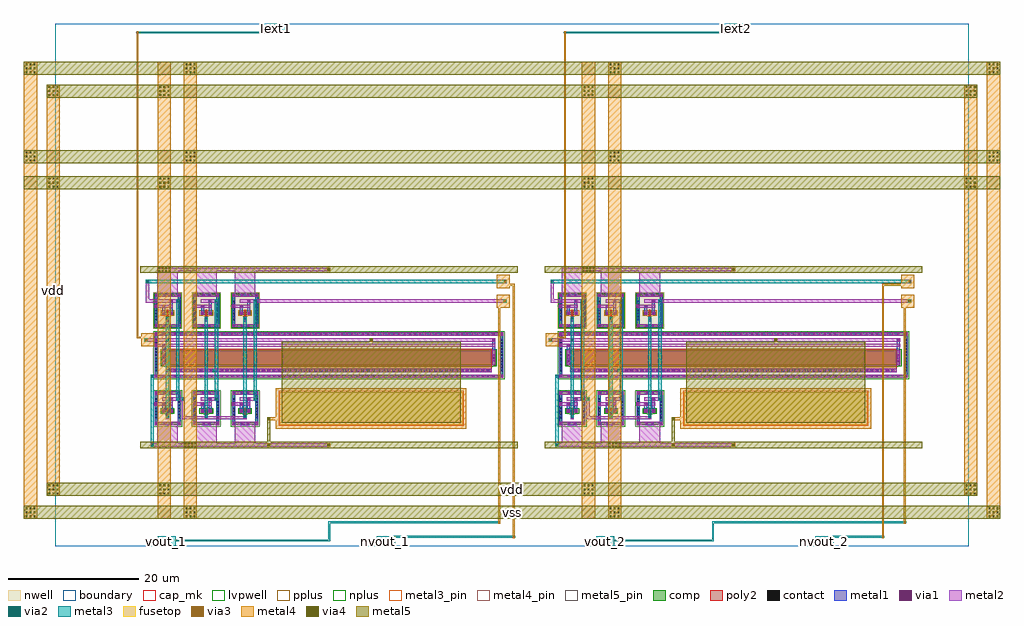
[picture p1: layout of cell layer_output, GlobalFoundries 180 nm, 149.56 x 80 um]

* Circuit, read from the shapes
.subckt layer_output Iext1 Iext2 nvout_1 nvout_2 vdd vout_1 vout_2 vss
XM1 Iext1 n1 vss vss nfet_03v3 w=2.3u l=50u
XM2 nvout_1 Iext1 vss vss nfet_03v3 w=0.5u l=0.28u
XM3 n1 nvout_1 vss vss nfet_03v3 w=0.5u l=0.28u
XM4 vout_1 nvout_1 vss vss nfet_03v3 w=0.5u l=0.28u
XM5 Iext2 n2 vss vss nfet_03v3 w=2.3u l=50u
XM6 nvout_2 Iext2 vss vss nfet_03v3 w=0.5u l=0.28u
XM7 n2 nvout_2 vss vss nfet_03v3 w=0.5u l=0.28u
XM8 vout_2 nvout_2 vss vss nfet_03v3 w=0.5u l=0.28u
XM9 nvout_1 Iext1 vdd vdd pfet_03v3 w=0.5u l=0.28u
XM10 n1 nvout_1 vdd vdd pfet_03v3 w=0.5u l=0.28u
XM11 vout_1 nvout_1 vdd vdd pfet_03v3 w=0.5u l=0.28u
XM12 nvout_2 Iext2 vdd vdd pfet_03v3 w=0.5u l=0.28u
XM13 n2 nvout_2 vdd vdd pfet_03v3 w=0.5u l=0.28u
XM14 vout_2 nvout_2 vdd vdd pfet_03v3 w=0.5u l=0.28u
XC15 n3 vss cap_mim_2f0fF c_width=28u c_length=5u
XC16 n4 vss cap_mim_2f0fF c_width=28u c_length=5u
.ends

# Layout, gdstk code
import gdstk
lib = gdstk.Library(unit=1e-6, precision=1e-09)
def R(c, l, rs):  # rectangles x0, y0, x1, y1
    for r in rs: c.add(gdstk.rectangle(r[:2], r[2:], *l))
def A(c, l, x, y, w, h, nx, ny, dx, dy):  # array of equal rectangles
    R(c, l, [(x+i*dx, y+j*dy, x+i*dx+w, y+j*dy+h) for i in range(nx) for j in range(ny)])
boundary = (0, 0)
nwell = (21, 0)
comp = (22, 0)
poly2 = (30, 0)
pplus = (31, 0)
nplus = (32, 0)
contact = (33, 0)
metal1 = (34, 0)
via1 = (35, 0)
metal2 = (36, 0)
via2 = (38, 0)
via3 = (40, 0)
via4 = (41, 0)
metal3 = (42, 0)
metal3_pin = (42, 10)
metal4 = (46, 0)
metal4_pin = (46, 10)
fusetop = (75, 0)
metal5 = (81, 0)
metal5_pin = (81, 10)
cap_mk = (117, 5)
lvpwell = (204, 0)

via_via4_5_1000_1000_1_1 = lib.new_cell('VIA_via4_5_1000_1000_1_1_1040_1040$3')
R(via_via4_5_1000_1000_1_1, via4, [(-0.13,-0.13,0.13,0.13)])
R(via_via4_5_1000_1000_1_1, metal4, [(-0.25,-0.25,0.25,0.25)])
R(via_via4_5_1000_1000_1_1, metal5, [(-0.25,-0.25,0.25,0.25)])

via_via4_5_4000_2000_2_4 = lib.new_cell('VIA_via4_5_4000_2000_2_4_1040_1040$2')
A(via_via4_5_4000_2000_2_4, via4, -0.91, -0.39, 0.26, 0.26, 4, 2, 0.52, 0.52)
R(via_via4_5_4000_2000_2_4, metal4, [(-1,-0.45,1,0.45)])
R(via_via4_5_4000_2000_2_4, metal5, [(-1,-0.5,1,0.5)])

via_via4_5_4000_4000_3_3 = lib.new_cell('VIA_via4_5_4000_4000_3_3_1240_1240$2')
A(via_via4_5_4000_4000_3_3, via4, -0.75, -0.75, 0.26, 0.26, 3, 3, 0.62, 0.62)
R(via_via4_5_4000_4000_3_3, metal4, [(-1,-0.81,1,0.81)])
R(via_via4_5_4000_4000_3_3, metal5, [(-0.81,-1,0.81,1)])

straight_route_53a4cb04_ = lib.new_cell('straight_route_53a4cb04$1')
R(straight_route_53a4cb04_, metal2, [(1.97,1.105,2.47,1.855)])

via_stack_db8f27e1_1_1 = lib.new_cell('via_stack_db8f27e1$1$1')
R(via_stack_db8f27e1_1_1, metal2, [(-0.25,-0.25,0.25,0.25)])
R(via_stack_db8f27e1_1_1, via2, [(-0.13,-0.13,0.13,0.13)])
R(via_stack_db8f27e1_1_1, metal3, [(-0.25,-0.25,0.25,0.25)])

straight_route_6d2a1bc3_ = lib.new_cell('straight_route_6d2a1bc3$1')
R(straight_route_6d2a1bc3_, metal1, [(0.19,3.195,0.69,3.695)])
R(straight_route_6d2a1bc3_, via1, [(0.31,3.315,0.57,3.575)])
R(straight_route_6d2a1bc3_, metal2, [(0.19,3.195,1.4,3.695)])

m2_1 = lib.new_cell('m2$1')
R(m2_1, comp, [(-1.94,-2.52,1.94,-2.16), (-1.94,-2.16,-1.58,2.16), (1.58,-2.16,1.94,2.16), (-0.89,-0.655,0.89,-0.155), (-1.94,2.16,1.94,2.52)])
R(m2_1, poly2, [(-0.25,-1.695,0.25,-1.195), (-0.14,-1.195,0.14,0.085)])
R(m2_1, pplus, [(-0.61,-2.55,0.61,-2.54), (-1.96,-2.54,1.96,-2.14), (-1.96,-2.14,-1.56,-1.62), (-0.61,-2.14,0.61,-2.13), (1.56,-2.14,1.96,-1.62), (-1.97,-1.62,-1.55,1.62), (1.55,-1.62,1.97,1.62), (-1.96,1.62,-1.56,2.14), (1.56,1.62,1.96,2.14), (-0.61,2.13,0.61,2.14), (-1.96,2.14,1.96,2.54), (-0.61,2.54,0.61,2.55)])
R(m2_1, nplus, [(-0.37,-0.885,0.37,-0.815), (-1.05,-0.815,1.05,0.005), (-0.37,0.005,0.37,0.075)])
A(m2_1, contact, -1.87, -1.52, 0.22, 0.22, 1, 7, 0, 0.47)
A(m2_1, contact, 1.65, -1.52, 0.22, 0.22, 1, 7, 0, 0.47)
R(m2_1, contact, [(-0.51,-2.45,-0.29,-2.23), (0.29,-2.45,0.51,-2.23), (-0.11,-1.555,0.11,-1.335), (-0.68,-0.515,-0.46,-0.295), (0.46,-0.515,0.68,-0.295), (-0.51,2.23,-0.29,2.45), (0.29,2.23,0.51,2.45)])
R(m2_1, metal1, [(-1.99,-2.59,-1.49,-2.09), (-0.65,-2.59,0.65,-2.09), (1.49,-2.59,1.99,-2.09), (-1.99,-2.09,-1.53,2.09), (1.53,-2.09,1.99,2.09), (-0.25,-1.695,0.25,-1.195), (-0.82,-0.655,-0.32,-0.155), (0.32,-0.655,0.82,-0.155), (-0.8,-0.155,-0.34,0.395), (0.34,-0.155,0.8,1.195), (-0.82,0.395,-0.32,0.895), (0.32,1.195,0.82,1.695), (-1.99,2.09,-1.49,2.59), (-0.65,2.09,0.65,2.59), (1.49,2.09,1.99,2.59)])
R(m2_1, via1, [(-1.87,-2.47,-1.61,-2.21), (-0.53,-2.47,-0.27,-2.21), (0.27,-2.47,0.53,-2.21), (1.61,-2.47,1.87,-2.21), (-0.13,-1.575,0.13,-1.315), (-0.7,-0.535,-0.44,-0.275), (0.44,-0.535,0.7,-0.275), (-0.7,0.515,-0.44,0.775), (0.44,1.315,0.7,1.575), (-1.87,2.21,-1.61,2.47), (-0.53,2.21,-0.27,2.47), (0.27,2.21,0.53,2.47), (1.61,2.21,1.87,2.47)])
R(m2_1, metal2, [(-1.99,-2.59,1.99,-2.09), (-0.25,-1.695,0.25,-1.195), (-0.82,-0.655,-0.32,-0.155), (0.32,-0.655,0.82,-0.155), (-0.82,0.395,0.82,0.895), (-0.82,1.195,0.82,1.695), (-1.99,2.09,1.99,2.59)])
R(m2_1, lvpwell, [(-2.22,-2.8,2.22,2.8)])

straight_route_dcf617a3_ = lib.new_cell('straight_route_dcf617a3$1')
R(straight_route_dcf617a3_, metal2, [(8.41,1.105,13.85,1.605)])

l_route_f6a98f74_1 = lib.new_cell('L_route_f6a98f74$1')
R(l_route_f6a98f74_1, metal2, [(4.39,1.105,7.91,1.605), (4.39,1.605,4.89,3.995)])

straight_route_ddcd9658_ = lib.new_cell('straight_route_ddcd9658$1')
R(straight_route_ddcd9658_, metal2, [(7.91,1.105,8.41,1.855)])

via_stack_db8f27e1_3_1 = lib.new_cell('via_stack_db8f27e1$3$1')
R(via_stack_db8f27e1_3_1, metal2, [(-0.25,-0.25,0.25,0.25)])
R(via_stack_db8f27e1_3_1, via2, [(-0.13,-0.13,0.13,0.13)])
R(via_stack_db8f27e1_3_1, metal3, [(-0.25,-0.25,0.25,0.25)])

straight_route_56a2289f_ = lib.new_cell('straight_route_56a2289f$1')
R(straight_route_56a2289f_, metal1, [(6.13,3.195,6.63,3.695)])
R(straight_route_56a2289f_, via1, [(6.25,3.315,6.51,3.575)])
R(straight_route_56a2289f_, metal2, [(6.13,3.195,7.34,3.695)])

m4_1 = lib.new_cell('m4$1')
R(m4_1, comp, [(-1.94,-2.52,1.94,-2.16), (-1.94,-2.16,-1.58,2.16), (1.58,-2.16,1.94,2.16), (-0.89,-0.655,0.89,-0.155), (-1.94,2.16,1.94,2.52)])
R(m4_1, poly2, [(-0.25,-1.695,0.25,-1.195), (-0.14,-1.195,0.14,0.085)])
R(m4_1, pplus, [(-0.61,-2.55,0.61,-2.54), (-1.96,-2.54,1.96,-2.14), (-1.96,-2.14,-1.56,-1.62), (-0.61,-2.14,0.61,-2.13), (1.56,-2.14,1.96,-1.62), (-1.97,-1.62,-1.55,1.62), (1.55,-1.62,1.97,1.62), (-1.96,1.62,-1.56,2.14), (1.56,1.62,1.96,2.14), (-0.61,2.13,0.61,2.14), (-1.96,2.14,1.96,2.54), (-0.61,2.54,0.61,2.55)])
R(m4_1, nplus, [(-0.37,-0.885,0.37,-0.815), (-1.05,-0.815,1.05,0.005), (-0.37,0.005,0.37,0.075)])
A(m4_1, contact, -1.87, -1.52, 0.22, 0.22, 1, 7, 0, 0.47)
A(m4_1, contact, 1.65, -1.52, 0.22, 0.22, 1, 7, 0, 0.47)
R(m4_1, contact, [(-0.51,-2.45,-0.29,-2.23), (0.29,-2.45,0.51,-2.23), (-0.11,-1.555,0.11,-1.335), (-0.68,-0.515,-0.46,-0.295), (0.46,-0.515,0.68,-0.295), (-0.51,2.23,-0.29,2.45), (0.29,2.23,0.51,2.45)])
R(m4_1, metal1, [(-1.99,-2.59,-1.49,-2.09), (-0.65,-2.59,0.65,-2.09), (1.49,-2.59,1.99,-2.09), (-1.99,-2.09,-1.53,2.09), (1.53,-2.09,1.99,2.09), (-0.25,-1.695,0.25,-1.195), (-0.82,-0.655,-0.32,-0.155), (0.32,-0.655,0.82,-0.155), (-0.8,-0.155,-0.34,0.395), (0.34,-0.155,0.8,1.195), (-0.82,0.395,-0.32,0.895), (0.32,1.195,0.82,1.695), (-1.99,2.09,-1.49,2.59), (-0.65,2.09,0.65,2.59), (1.49,2.09,1.99,2.59)])
R(m4_1, via1, [(-1.87,-2.47,-1.61,-2.21), (-0.53,-2.47,-0.27,-2.21), (0.27,-2.47,0.53,-2.21), (1.61,-2.47,1.87,-2.21), (-0.13,-1.575,0.13,-1.315), (-0.7,-0.535,-0.44,-0.275), (0.44,-0.535,0.7,-0.275), (-0.7,0.515,-0.44,0.775), (0.44,1.315,0.7,1.575), (-1.87,2.21,-1.61,2.47), (-0.53,2.21,-0.27,2.47), (0.27,2.21,0.53,2.47), (1.61,2.21,1.87,2.47)])
R(m4_1, metal2, [(-1.99,-2.59,1.99,-2.09), (-0.25,-1.695,0.25,-1.195), (-0.82,-0.655,-0.32,-0.155), (0.32,-0.655,0.82,-0.155), (-0.82,0.395,0.82,0.895), (-0.82,1.195,0.82,1.695), (-1.99,2.09,1.99,2.59)])
R(m4_1, lvpwell, [(-2.22,-2.8,2.22,2.8)])

straight_route_e1a548f4_ = lib.new_cell('straight_route_e1a548f4$1')
R(straight_route_e1a548f4_, metal1, [(12.07,3.195,12.57,3.695)])
R(straight_route_e1a548f4_, via1, [(12.19,3.315,12.45,3.575)])
R(straight_route_e1a548f4_, metal2, [(12.07,3.195,13.28,3.695)])

m8_1 = lib.new_cell('m8$1')
R(m8_1, comp, [(-1.94,-2.52,1.94,-2.16), (-1.94,-2.16,-1.58,2.16), (1.58,-2.16,1.94,2.16), (-0.89,-0.655,0.89,-0.155), (-1.94,2.16,1.94,2.52)])
R(m8_1, poly2, [(-0.25,-1.695,0.25,-1.195), (-0.14,-1.195,0.14,0.085)])
R(m8_1, pplus, [(-0.61,-2.55,0.61,-2.54), (-1.96,-2.54,1.96,-2.14), (-1.96,-2.14,-1.56,-1.62), (-0.61,-2.14,0.61,-2.13), (1.56,-2.14,1.96,-1.62), (-1.97,-1.62,-1.55,1.62), (1.55,-1.62,1.97,1.62), (-1.96,1.62,-1.56,2.14), (1.56,1.62,1.96,2.14), (-0.61,2.13,0.61,2.14), (-1.96,2.14,1.96,2.54), (-0.61,2.54,0.61,2.55)])
R(m8_1, nplus, [(-0.37,-0.885,0.37,-0.815), (-1.05,-0.815,1.05,0.005), (-0.37,0.005,0.37,0.075)])
A(m8_1, contact, -1.87, -1.52, 0.22, 0.22, 1, 7, 0, 0.47)
A(m8_1, contact, 1.65, -1.52, 0.22, 0.22, 1, 7, 0, 0.47)
R(m8_1, contact, [(-0.51,-2.45,-0.29,-2.23), (0.29,-2.45,0.51,-2.23), (-0.11,-1.555,0.11,-1.335), (-0.68,-0.515,-0.46,-0.295), (0.46,-0.515,0.68,-0.295), (-0.51,2.23,-0.29,2.45), (0.29,2.23,0.51,2.45)])
R(m8_1, metal1, [(-1.99,-2.59,-1.49,-2.09), (-0.65,-2.59,0.65,-2.09), (1.49,-2.59,1.99,-2.09), (-1.99,-2.09,-1.53,2.09), (1.53,-2.09,1.99,2.09), (-0.25,-1.695,0.25,-1.195), (-0.82,-0.655,-0.32,-0.155), (0.32,-0.655,0.82,-0.155), (-0.8,-0.155,-0.34,0.395), (0.34,-0.155,0.8,1.195), (-0.82,0.395,-0.32,0.895), (0.32,1.195,0.82,1.695), (-1.99,2.09,-1.49,2.59), (-0.65,2.09,0.65,2.59), (1.49,2.09,1.99,2.59)])
R(m8_1, via1, [(-1.87,-2.47,-1.61,-2.21), (-0.53,-2.47,-0.27,-2.21), (0.27,-2.47,0.53,-2.21), (1.61,-2.47,1.87,-2.21), (-0.13,-1.575,0.13,-1.315), (-0.7,-0.535,-0.44,-0.275), (0.44,-0.535,0.7,-0.275), (-0.7,0.515,-0.44,0.775), (0.44,1.315,0.7,1.575), (-1.87,2.21,-1.61,2.47), (-0.53,2.21,-0.27,2.47), (0.27,2.21,0.53,2.47), (1.61,2.21,1.87,2.47)])
R(m8_1, metal2, [(-1.99,-2.59,1.99,-2.09), (-0.25,-1.695,0.25,-1.195), (-0.82,-0.655,-0.32,-0.155), (0.32,-0.655,0.82,-0.155), (-0.82,0.395,0.82,0.895), (-0.82,1.195,0.82,1.695), (-1.99,2.09,1.99,2.59)])
R(m8_1, lvpwell, [(-2.22,-2.8,2.22,2.8)])

c_route_1413264f_1 = lib.new_cell('c_route_1413264f$1')
R(c_route_1413264f_1, metal2, [(17.47,-3.05,26.68,-2.55)])
R(c_route_1413264f_1, via2, [(17.59,-2.93,17.85,-2.67)])
R(c_route_1413264f_1, via3, [(17.59,-2.93,17.85,-2.67)])
R(c_route_1413264f_1, via4, [(17.59,-2.93,17.85,-2.67), (17.59,1.07,17.85,1.33)])
R(c_route_1413264f_1, metal3, [(17.47,-3.05,17.97,-2.55)])
R(c_route_1413264f_1, metal4, [(17.47,-3.05,17.97,-2.55), (17.47,0.95,19.97,1.45)])
R(c_route_1413264f_1, metal5, [(17.47,-3.05,17.97,1.45)])

straight_route_481d2178_ = lib.new_cell('straight_route_481d2178$1')
R(straight_route_481d2178_, metal2, [(13.85,1.105,14.35,1.855)])

via_stack_db8f27e1_5_1 = lib.new_cell('via_stack_db8f27e1$5$1')
R(via_stack_db8f27e1_5_1, metal2, [(-0.25,-0.25,0.25,0.25)])
R(via_stack_db8f27e1_5_1, via2, [(-0.13,-0.13,0.13,0.13)])
R(via_stack_db8f27e1_5_1, metal3, [(-0.25,-0.25,0.25,0.25)])

l_route_33c645ae_1 = lib.new_cell('L_route_33c645ae$1')
R(l_route_33c645ae_1, metal2, [(12.52,-3.05,26.68,-2.55), (12.52,-2.55,15.68,0.21)])

via_stack_b843013f_2 = lib.new_cell('via_stack_b843013f$2')
R(via_stack_b843013f_2, metal2, [(-0.25,-0.25,0.25,0.25)])
R(via_stack_b843013f_2, via2, [(-0.13,-0.13,0.13,0.13)])
R(via_stack_b843013f_2, via3, [(-0.13,-0.13,0.13,0.13)])
R(via_stack_b843013f_2, via4, [(-0.13,-0.13,0.13,0.13)])
R(via_stack_b843013f_2, metal3, [(-0.25,-0.25,0.25,0.25)])
R(via_stack_b843013f_2, metal4, [(-0.25,-0.25,0.25,0.25)])
R(via_stack_b843013f_2, metal5, [(-0.25,-0.25,0.25,0.25)])

l_route_2285d065_1 = lib.new_cell('L_route_2285d065$1')
R(l_route_2285d065_1, metal2, [(6.58,-3.05,26.68,-2.55), (6.58,-2.55,9.74,0.21)])

l_route_16eb19f2_1 = lib.new_cell('L_route_16eb19f2$1')
R(l_route_16eb19f2_1, metal2, [(0.64,-3.05,26.68,-2.55), (0.64,-2.55,3.8,0.21)])

compass_9b95c421_1_1 = lib.new_cell('compass_9b95c421$1$1')
R(compass_9b95c421_1_1, metal5, [(-28.93,-0.5,28.93,0.5)])

rectangle_9b95c421_1_1 = lib.new_cell('rectangle_9b95c421$1$1')
rectangle_9b95c421_1_1.add(gdstk.Reference(compass_9b95c421_1_1, (28.93,0.5)))

cap_1 = lib.new_cell('cap$1')
R(cap_1, metal4, [(-14.6,-3.1,14.6,3.1)])
R(cap_1, fusetop, [(-14,-2.5,14,2.5)])
R(cap_1, metal5, [(-13.72,-2.22,13.72,2.22)])
R(cap_1, cap_mk, [(-14.2,-2.7,14.2,2.7)])

straight_route_b24133ba_ = lib.new_cell('straight_route_b24133ba$1')
R(straight_route_b24133ba_, metal2, [(3.04,3.995,4.39,4.495)])

via_stack_d8f45b10_1 = lib.new_cell('via_stack_d8f45b10$1')
R(via_stack_d8f45b10_1, metal2, [(-0.25,-0.25,0.25,0.25)])
R(via_stack_d8f45b10_1, via2, [(-0.13,-0.13,0.13,0.13)])
R(via_stack_d8f45b10_1, metal3, [(-0.25,-0.25,0.25,0.25)])

straight_route_92746b26_ = lib.new_cell('straight_route_92746b26$1')
R(straight_route_92746b26_, metal2, [(33.17,13.035,33.67,13.535)])
R(straight_route_92746b26_, via2, [(33.29,13.155,33.55,13.415)])
R(straight_route_92746b26_, via3, [(33.29,13.155,33.55,13.415)])
R(straight_route_92746b26_, via4, [(33.29,13.155,33.55,13.415)])
R(straight_route_92746b26_, metal3, [(33.17,13.035,33.67,13.535)])
R(straight_route_92746b26_, metal4, [(33.17,13.035,33.67,13.535)])
R(straight_route_92746b26_, metal5, [(19.7,5.02,47.14,13.035), (33.17,13.035,33.67,13.535)])

c_route_c9285d5b_1 = lib.new_cell('c_route_c9285d5b$1')
R(c_route_c9285d5b_1, metal2, [(-0.36,-3.05,26.68,-2.55), (-0.36,7.455,0.64,7.955)])
R(c_route_c9285d5b_1, via2, [(-0.24,-2.93,0.02,-2.67), (-0.24,7.575,0.02,7.835)])
R(c_route_c9285d5b_1, metal3, [(-0.36,-3.05,0.14,7.955)])

m5_1 = lib.new_cell('m5$1')
R(m5_1, comp, [(-26.65,-3.415,26.65,-3.055), (-26.65,-3.055,-26.29,3.055), (26.29,-3.055,26.65,3.055), (-25.6,-1.555,25.6,0.745), (-26.65,3.055,26.65,3.415)])
R(m5_1, poly2, [(-25,-2.595,25,0.985)])
R(m5_1, pplus, [(-25.41,-3.445,25.41,-3.435), (-26.67,-3.435,26.67,-3.035), (-26.67,-3.035,-26.27,-2.56), (-25.41,-3.035,25.41,-3.025), (26.27,-3.035,26.67,-2.56), (-26.68,-2.56,-26.26,2.56), (26.26,-2.56,26.68,2.56), (-26.67,2.56,-26.27,3.035), (26.27,2.56,26.67,3.035), (-25.41,3.025,25.41,3.035), (-26.67,3.035,26.67,3.435), (-25.41,3.435,25.41,3.445)])
R(m5_1, nplus, [(-25.23,-1.785,25.23,-1.715), (-25.76,-1.715,25.76,0.905), (-25.23,0.905,25.23,0.975)])
A(m5_1, contact, -25.31, -3.345, 0.22, 0.22, 64, 2, 0.8, 6.47)
A(m5_1, contact, -26.58, -2.46, 0.22, 0.22, 1, 11, 0, 0.47)
A(m5_1, contact, 26.36, -2.46, 0.22, 0.22, 1, 11, 0, 0.47)
A(m5_1, contact, -24.51, -2.455, 0.22, 0.22, 62, 1, 0.8, 0)
A(m5_1, contact, -25.39, -0.985, 0.22, 0.22, 1, 3, 0, 0.47)
A(m5_1, contact, 25.17, -0.985, 0.22, 0.22, 1, 3, 0, 0.47)
A(m5_1, metal1, -24.65, -2.595, 0.5, 0.5, 62, 1, 0.8, 0)
R(m5_1, metal1, [(-26.7,-3.485,-26.2,-2.985), (-25.45,-3.485,25.45,-2.985), (26.2,-3.485,26.7,-2.985), (-26.7,-2.985,-26.24,2.985), (26.24,-2.985,26.7,2.985), (-25.51,-1.555,-25.05,-1.055), (25.05,-1.555,25.51,-1.055), (-25.53,-1.055,-25.03,0.245), (25.03,-1.055,25.53,0.245), (-25.51,0.245,-25.05,1.295), (25.05,0.245,25.51,2.095), (-25.53,1.295,-25.03,1.795), (25.03,2.095,25.53,2.595), (-26.7,2.985,-26.2,3.485), (-25.45,2.985,25.45,3.485), (26.2,2.985,26.7,3.485)])
A(m5_1, via1, -25.33, -3.365, 0.26, 0.26, 64, 2, 0.8, 6.47)
A(m5_1, via1, -24.53, -2.475, 0.26, 0.26, 62, 1, 0.8, 0)
R(m5_1, via1, [(-26.58,-3.365,-26.32,-3.105), (26.32,-3.365,26.58,-3.105), (-25.41,-0.935,-25.15,-0.675), (25.15,-0.935,25.41,-0.675), (-25.41,-0.135,-25.15,0.125), (25.15,-0.135,25.41,0.125), (-25.41,1.415,-25.15,1.675), (25.15,2.215,25.41,2.475), (-26.58,3.105,-26.32,3.365), (26.32,3.105,26.58,3.365)])
R(m5_1, metal2, [(-26.7,-3.485,26.7,-2.985), (-25,-2.595,25,-2.095), (-25.53,-1.555,-25.03,0.745), (25.03,-1.555,25.53,0.745), (-25.53,1.295,25.53,1.795), (-25.53,2.095,25.53,2.595), (-26.7,2.985,26.7,3.485)])
R(m5_1, lvpwell, [(-26.93,-3.695,26.93,3.695)])

compass_669c8fc8_3 = lib.new_cell('compass_669c8fc8$3')
R(compass_669c8fc8_3, metal4, [(-1,-1,1,1)])

iin_metal_1 = lib.new_cell('iin_metal$1')
iin_metal_1.add(gdstk.Reference(compass_669c8fc8_3, (1,1)))

straight_route_996c362e_ = lib.new_cell('straight_route_996c362e$1')
R(straight_route_996c362e_, metal2, [(-0.85,13.035,1.4,13.535)])

via_stack_c8581f42_2 = lib.new_cell('via_stack_c8581f42$2')
R(via_stack_c8581f42_2, metal2, [(-0.25,-0.25,0.25,0.25)])
R(via_stack_c8581f42_2, via2, [(-0.13,-0.13,0.13,0.13)])
R(via_stack_c8581f42_2, via3, [(-0.13,-0.13,0.13,0.13)])
R(via_stack_c8581f42_2, metal3, [(-0.25,-0.25,0.25,0.25)])
R(via_stack_c8581f42_2, metal4, [(-0.25,-0.25,0.25,0.25)])

straight_route_9664698a_ = lib.new_cell('straight_route_9664698a$1')
R(straight_route_9664698a_, metal2, [(1.97,16.095,2.47,16.595)])

straight_route_ed3a1993_ = lib.new_cell('straight_route_ed3a1993$1')
R(straight_route_ed3a1993_, metal1, [(0.19,12.235,0.69,12.735)])
R(straight_route_ed3a1993_, via1, [(0.31,12.355,0.57,12.615)])
R(straight_route_ed3a1993_, metal2, [(0.19,12.235,1.4,12.735)])

m1_1 = lib.new_cell('m1$1')
R(m1_1, nwell, [(-2.22,-2.8,2.22,2.8)])
R(m1_1, comp, [(-1.94,-2.52,1.94,-2.16), (-1.94,-2.16,-1.58,2.16), (1.58,-2.16,1.94,2.16), (-0.89,-0.655,0.89,-0.155), (-1.94,2.16,1.94,2.52)])
R(m1_1, poly2, [(-0.25,-1.695,0.25,-1.195), (-0.14,-1.195,0.14,0.085)])
R(m1_1, pplus, [(-0.37,-0.885,0.37,-0.815), (-1.05,-0.815,1.05,0.005), (-0.37,0.005,0.37,0.075)])
R(m1_1, nplus, [(-2.1,-2.68,2.1,-2.14), (-2.1,-2.14,-1.56,-1.62), (-0.61,-2.14,0.61,-2.13), (1.56,-2.14,2.1,-1.62), (-2.1,-1.62,-1.55,1.62), (1.55,-1.62,2.1,1.62), (-2.1,1.62,-1.56,2.14), (1.56,1.62,2.1,2.14), (-0.61,2.13,0.61,2.14), (-2.1,2.14,2.1,2.68)])
A(m1_1, contact, -1.87, -1.52, 0.22, 0.22, 1, 7, 0, 0.47)
A(m1_1, contact, 1.65, -1.52, 0.22, 0.22, 1, 7, 0, 0.47)
R(m1_1, contact, [(-0.51,-2.45,-0.29,-2.23), (0.29,-2.45,0.51,-2.23), (-0.11,-1.555,0.11,-1.335), (-0.68,-0.515,-0.46,-0.295), (0.46,-0.515,0.68,-0.295), (-0.51,2.23,-0.29,2.45), (0.29,2.23,0.51,2.45)])
R(m1_1, metal1, [(-1.99,-2.59,-1.49,-2.09), (-0.65,-2.59,0.65,-2.09), (1.49,-2.59,1.99,-2.09), (-1.99,-2.09,-1.53,2.09), (1.53,-2.09,1.99,2.09), (-0.25,-1.695,0.25,-1.195), (-0.82,-0.655,-0.32,-0.155), (0.32,-0.655,0.82,-0.155), (-0.8,-0.155,-0.34,0.395), (0.34,-0.155,0.8,1.195), (-0.82,0.395,-0.32,0.895), (0.32,1.195,0.82,1.695), (-1.99,2.09,-1.49,2.59), (-0.65,2.09,0.65,2.59), (1.49,2.09,1.99,2.59)])
R(m1_1, via1, [(-1.87,-2.47,-1.61,-2.21), (-0.53,-2.47,-0.27,-2.21), (0.27,-2.47,0.53,-2.21), (1.61,-2.47,1.87,-2.21), (-0.13,-1.575,0.13,-1.315), (-0.7,-0.535,-0.44,-0.275), (0.44,-0.535,0.7,-0.275), (-0.7,0.515,-0.44,0.775), (0.44,1.315,0.7,1.575), (-1.87,2.21,-1.61,2.47), (-0.53,2.21,-0.27,2.47), (0.27,2.21,0.53,2.47), (1.61,2.21,1.87,2.47)])
R(m1_1, metal2, [(-1.99,-2.59,1.99,-2.09), (-0.25,-1.695,0.25,-1.195), (-0.82,-0.655,-0.32,-0.155), (0.32,-0.655,0.82,-0.155), (-0.82,0.395,0.82,0.895), (-0.82,1.195,0.82,1.695), (-1.99,2.09,1.99,2.59)])

m3_1 = lib.new_cell('m3$1')
R(m3_1, nwell, [(-2.22,-2.8,2.22,2.8)])
R(m3_1, comp, [(-1.94,-2.52,1.94,-2.16), (-1.94,-2.16,-1.58,2.16), (1.58,-2.16,1.94,2.16), (-0.89,-0.655,0.89,-0.155), (-1.94,2.16,1.94,2.52)])
R(m3_1, poly2, [(-0.25,-1.695,0.25,-1.195), (-0.14,-1.195,0.14,0.085)])
R(m3_1, pplus, [(-0.37,-0.885,0.37,-0.815), (-1.05,-0.815,1.05,0.005), (-0.37,0.005,0.37,0.075)])
R(m3_1, nplus, [(-2.1,-2.68,2.1,-2.14), (-2.1,-2.14,-1.56,-1.62), (-0.61,-2.14,0.61,-2.13), (1.56,-2.14,2.1,-1.62), (-2.1,-1.62,-1.55,1.62), (1.55,-1.62,2.1,1.62), (-2.1,1.62,-1.56,2.14), (1.56,1.62,2.1,2.14), (-0.61,2.13,0.61,2.14), (-2.1,2.14,2.1,2.68)])
A(m3_1, contact, -1.87, -1.52, 0.22, 0.22, 1, 7, 0, 0.47)
A(m3_1, contact, 1.65, -1.52, 0.22, 0.22, 1, 7, 0, 0.47)
R(m3_1, contact, [(-0.51,-2.45,-0.29,-2.23), (0.29,-2.45,0.51,-2.23), (-0.11,-1.555,0.11,-1.335), (-0.68,-0.515,-0.46,-0.295), (0.46,-0.515,0.68,-0.295), (-0.51,2.23,-0.29,2.45), (0.29,2.23,0.51,2.45)])
R(m3_1, metal1, [(-1.99,-2.59,-1.49,-2.09), (-0.65,-2.59,0.65,-2.09), (1.49,-2.59,1.99,-2.09), (-1.99,-2.09,-1.53,2.09), (1.53,-2.09,1.99,2.09), (-0.25,-1.695,0.25,-1.195), (-0.82,-0.655,-0.32,-0.155), (0.32,-0.655,0.82,-0.155), (-0.8,-0.155,-0.34,0.395), (0.34,-0.155,0.8,1.195), (-0.82,0.395,-0.32,0.895), (0.32,1.195,0.82,1.695), (-1.99,2.09,-1.49,2.59), (-0.65,2.09,0.65,2.59), (1.49,2.09,1.99,2.59)])
R(m3_1, via1, [(-1.87,-2.47,-1.61,-2.21), (-0.53,-2.47,-0.27,-2.21), (0.27,-2.47,0.53,-2.21), (1.61,-2.47,1.87,-2.21), (-0.13,-1.575,0.13,-1.315), (-0.7,-0.535,-0.44,-0.275), (0.44,-0.535,0.7,-0.275), (-0.7,0.515,-0.44,0.775), (0.44,1.315,0.7,1.575), (-1.87,2.21,-1.61,2.47), (-0.53,2.21,-0.27,2.47), (0.27,2.21,0.53,2.47), (1.61,2.21,1.87,2.47)])
R(m3_1, metal2, [(-1.99,-2.59,1.99,-2.09), (-0.25,-1.695,0.25,-1.195), (-0.82,-0.655,-0.32,-0.155), (0.32,-0.655,0.82,-0.155), (-0.82,0.395,0.82,0.895), (-0.82,1.195,0.82,1.695), (-1.99,2.09,1.99,2.59)])

straight_route_a858edcb_ = lib.new_cell('straight_route_a858edcb$1')
R(straight_route_a858edcb_, metal2, [(7.91,16.095,8.41,16.595)])

m7_1 = lib.new_cell('m7$1')
R(m7_1, nwell, [(-2.22,-2.8,2.22,2.8)])
R(m7_1, comp, [(-1.94,-2.52,1.94,-2.16), (-1.94,-2.16,-1.58,2.16), (1.58,-2.16,1.94,2.16), (-0.89,-0.655,0.89,-0.155), (-1.94,2.16,1.94,2.52)])
R(m7_1, poly2, [(-0.25,-1.695,0.25,-1.195), (-0.14,-1.195,0.14,0.085)])
R(m7_1, pplus, [(-0.37,-0.885,0.37,-0.815), (-1.05,-0.815,1.05,0.005), (-0.37,0.005,0.37,0.075)])
R(m7_1, nplus, [(-2.1,-2.68,2.1,-2.14), (-2.1,-2.14,-1.56,-1.62), (-0.61,-2.14,0.61,-2.13), (1.56,-2.14,2.1,-1.62), (-2.1,-1.62,-1.55,1.62), (1.55,-1.62,2.1,1.62), (-2.1,1.62,-1.56,2.14), (1.56,1.62,2.1,2.14), (-0.61,2.13,0.61,2.14), (-2.1,2.14,2.1,2.68)])
A(m7_1, contact, -1.87, -1.52, 0.22, 0.22, 1, 7, 0, 0.47)
A(m7_1, contact, 1.65, -1.52, 0.22, 0.22, 1, 7, 0, 0.47)
R(m7_1, contact, [(-0.51,-2.45,-0.29,-2.23), (0.29,-2.45,0.51,-2.23), (-0.11,-1.555,0.11,-1.335), (-0.68,-0.515,-0.46,-0.295), (0.46,-0.515,0.68,-0.295), (-0.51,2.23,-0.29,2.45), (0.29,2.23,0.51,2.45)])
R(m7_1, metal1, [(-1.99,-2.59,-1.49,-2.09), (-0.65,-2.59,0.65,-2.09), (1.49,-2.59,1.99,-2.09), (-1.99,-2.09,-1.53,2.09), (1.53,-2.09,1.99,2.09), (-0.25,-1.695,0.25,-1.195), (-0.82,-0.655,-0.32,-0.155), (0.32,-0.655,0.82,-0.155), (-0.8,-0.155,-0.34,0.395), (0.34,-0.155,0.8,1.195), (-0.82,0.395,-0.32,0.895), (0.32,1.195,0.82,1.695), (-1.99,2.09,-1.49,2.59), (-0.65,2.09,0.65,2.59), (1.49,2.09,1.99,2.59)])
R(m7_1, via1, [(-1.87,-2.47,-1.61,-2.21), (-0.53,-2.47,-0.27,-2.21), (0.27,-2.47,0.53,-2.21), (1.61,-2.47,1.87,-2.21), (-0.13,-1.575,0.13,-1.315), (-0.7,-0.535,-0.44,-0.275), (0.44,-0.535,0.7,-0.275), (-0.7,0.515,-0.44,0.775), (0.44,1.315,0.7,1.575), (-1.87,2.21,-1.61,2.47), (-0.53,2.21,-0.27,2.47), (0.27,2.21,0.53,2.47), (1.61,2.21,1.87,2.47)])
R(m7_1, metal2, [(-1.99,-2.59,1.99,-2.09), (-0.25,-1.695,0.25,-1.195), (-0.82,-0.655,-0.32,-0.155), (0.32,-0.655,0.82,-0.155), (-0.82,0.395,0.82,0.895), (-0.82,1.195,0.82,1.695), (-1.99,2.09,1.99,2.59)])

straight_route_a6495afa_ = lib.new_cell('straight_route_a6495afa$1')
R(straight_route_a6495afa_, metal2, [(13.85,16.095,14.35,16.595)])

compass_c22e7f21_1 = lib.new_cell('compass_c22e7f21$1')
R(compass_c22e7f21_1, boundary, [(-28.93,-13.945,28.93,13.945)])

rectangle_c22e7f21_1 = lib.new_cell('rectangle_c22e7f21$1')
rectangle_c22e7f21_1.add(gdstk.Reference(compass_c22e7f21_1, (28.93,13.945)))

via_stack_db8f27e1_4_1 = lib.new_cell('via_stack_db8f27e1$4$1')
R(via_stack_db8f27e1_4_1, metal2, [(-0.25,-0.25,0.25,0.25)])
R(via_stack_db8f27e1_4_1, via2, [(-0.13,-0.13,0.13,0.13)])
R(via_stack_db8f27e1_4_1, metal3, [(-0.25,-0.25,0.25,0.25)])

via_stack_db8f27e1_2_1 = lib.new_cell('via_stack_db8f27e1$2$1')
R(via_stack_db8f27e1_2_1, metal2, [(-0.25,-0.25,0.25,0.25)])
R(via_stack_db8f27e1_2_1, via2, [(-0.13,-0.13,0.13,0.13)])
R(via_stack_db8f27e1_2_1, metal3, [(-0.25,-0.25,0.25,0.25)])

via_stack_db8f27e1_6 = lib.new_cell('via_stack_db8f27e1$6')
R(via_stack_db8f27e1_6, metal2, [(-0.25,-0.25,0.25,0.25)])
R(via_stack_db8f27e1_6, via2, [(-0.13,-0.13,0.13,0.13)])
R(via_stack_db8f27e1_6, metal3, [(-0.25,-0.25,0.25,0.25)])

straight_route_0f4b8453_ = lib.new_cell('straight_route_0f4b8453$1')
R(straight_route_0f4b8453_, metal1, [(12.07,18.185,12.57,18.685)])
R(straight_route_0f4b8453_, via1, [(12.19,18.305,12.45,18.565)])
R(straight_route_0f4b8453_, metal2, [(12.07,18.185,13.28,18.685)])

straight_route_d367c30d_ = lib.new_cell('straight_route_d367c30d$1')
R(straight_route_d367c30d_, metal1, [(6.13,18.185,6.63,18.685)])
R(straight_route_d367c30d_, via1, [(6.25,18.305,6.51,18.565)])
R(straight_route_d367c30d_, metal2, [(6.13,18.185,7.34,18.685)])

straight_route_6b64639e_ = lib.new_cell('straight_route_6b64639e$1')
R(straight_route_6b64639e_, metal1, [(0.19,18.185,0.69,18.685)])
R(straight_route_6b64639e_, via1, [(0.31,18.305,0.57,18.565)])
R(straight_route_6b64639e_, metal2, [(0.19,18.185,1.4,18.685)])

l_route_ab30fc68_1 = lib.new_cell('L_route_ab30fc68$1')
R(l_route_ab30fc68_1, metal2, [(12.52,20.38,15.68,23.84), (12.52,23.84,26.68,24.34)])

l_route_b5e7b31b_1 = lib.new_cell('L_route_b5e7b31b$1')
R(l_route_b5e7b31b_1, metal2, [(6.58,20.38,9.74,23.84), (6.58,23.84,26.68,24.34)])

l_route_0d6dd8b1_1 = lib.new_cell('L_route_0d6dd8b1$1')
R(l_route_0d6dd8b1_1, metal2, [(0.64,20.38,3.8,23.84), (0.64,23.84,26.68,24.34)])

compass_669c8fc8_2_1 = lib.new_cell('compass_669c8fc8$2$1')
R(compass_669c8fc8_2_1, metal4, [(-1,-1,1,1)])

spike_metal_1 = lib.new_cell('spike_metal$1')
spike_metal_1.add(gdstk.Reference(compass_669c8fc8_2_1, (1,1)))

compass_669c8fc8_1_1 = lib.new_cell('compass_669c8fc8$1$1')
R(compass_669c8fc8_1_1, metal4, [(-1,-1,1,1)])

spike_neg_metal_1 = lib.new_cell('spike_neg_metal$1')
spike_neg_metal_1.add(gdstk.Reference(compass_669c8fc8_1_1, (1,1)))

via_stack_c8581f42_1_1 = lib.new_cell('via_stack_c8581f42$1$1')
R(via_stack_c8581f42_1_1, metal2, [(-0.25,-0.25,0.25,0.25)])
R(via_stack_c8581f42_1_1, via2, [(-0.13,-0.13,0.13,0.13)])
R(via_stack_c8581f42_1_1, via3, [(-0.13,-0.13,0.13,0.13)])
R(via_stack_c8581f42_1_1, metal3, [(-0.25,-0.25,0.25,0.25)])
R(via_stack_c8581f42_1_1, metal4, [(-0.25,-0.25,0.25,0.25)])

c_route_29733b11_1 = lib.new_cell('c_route_29733b11$1')
R(c_route_29733b11_1, metal2, [(-1.1,18.985,1.4,19.485), (-1.1,19.485,-0.6,22.485)])
R(c_route_29733b11_1, via2, [(-0.98,22.105,-0.72,22.365)])
R(c_route_29733b11_1, metal3, [(-1.1,21.985,53.67,22.485)])

straight_route_d8570c63_ = lib.new_cell('straight_route_d8570c63$1')
R(straight_route_d8570c63_, metal2, [(14.92,18.985,54.17,19.485)])

via_stack_b06eda24_1 = lib.new_cell('via_stack_b06eda24$1')
R(via_stack_b06eda24_1, via3, [(-0.13,-0.13,0.13,0.13)])
R(via_stack_b06eda24_1, metal3, [(-0.25,-0.25,0.25,0.25)])
R(via_stack_b06eda24_1, metal4, [(-0.25,-0.25,0.25,0.25)])

compass_9b95c421_2 = lib.new_cell('compass_9b95c421$2')
R(compass_9b95c421_2, metal5, [(-28.93,-0.5,28.93,0.5)])

rectangle_9b95c421_2 = lib.new_cell('rectangle_9b95c421$2')
rectangle_9b95c421_2.add(gdstk.Reference(compass_9b95c421_2, (28.93,0.5)))

c_route_78f674dd_1 = lib.new_cell('c_route_78f674dd$1')
R(c_route_78f674dd_1, metal2, [(14.92,3.995,15.92,4.495), (14.92,18.985,15.92,19.485)])
R(c_route_78f674dd_1, via2, [(15.54,4.115,15.8,4.375), (15.54,19.105,15.8,19.365)])
R(c_route_78f674dd_1, metal3, [(15.42,3.995,15.92,19.485)])

straight_route_1953e087_ = lib.new_cell('straight_route_1953e087$1')
R(straight_route_1953e087_, metal3, [(13.85,1.855,14.35,16.345)])

c_route_05c46c31_1 = lib.new_cell('c_route_05c46c31$1')
R(c_route_05c46c31_1, metal2, [(8.98,3.995,9.98,4.495), (8.98,18.985,9.98,19.485)])
R(c_route_05c46c31_1, via2, [(9.6,4.115,9.86,4.375), (9.6,19.105,9.86,19.365)])
R(c_route_05c46c31_1, metal3, [(9.48,3.995,9.98,19.485)])

straight_route_088ac183_ = lib.new_cell('straight_route_088ac183$1')
R(straight_route_088ac183_, metal3, [(7.91,1.855,8.41,16.345)])

c_route_2bfcd837_1 = lib.new_cell('c_route_2bfcd837$1')
R(c_route_2bfcd837_1, metal2, [(3.04,3.995,4.04,4.495), (3.04,18.985,4.04,19.485)])
R(c_route_2bfcd837_1, via2, [(3.66,4.115,3.92,4.375), (3.66,19.105,3.92,19.365)])
R(c_route_2bfcd837_1, metal3, [(3.54,3.995,4.04,19.485)])

straight_route_ac39e755_ = lib.new_cell('straight_route_ac39e755$1')
R(straight_route_ac39e755_, metal3, [(1.97,1.855,2.47,16.345)])

neurona_lvs_1 = lib.new_cell('neurona_lvs$1')
R(neurona_lvs_1, boundary, [(0,0,57.86,27.89)])
neurona_lvs_1.add(gdstk.Reference(straight_route_53a4cb04_, (2,3.3)))
neurona_lvs_1.add(gdstk.Reference(via_stack_db8f27e1_1_1, (4.22,4.905)))
neurona_lvs_1.add(gdstk.Reference(straight_route_6d2a1bc3_, (2,3.3)))
neurona_lvs_1.add(gdstk.Reference(m2_1, (4.22,6.1)))
neurona_lvs_1.add(gdstk.Reference(straight_route_dcf617a3_, (2,3.3)))
neurona_lvs_1.add(gdstk.Reference(l_route_f6a98f74_1, (2,3.3)))
neurona_lvs_1.add(gdstk.Reference(straight_route_ddcd9658_, (2,3.3)))
neurona_lvs_1.add(gdstk.Reference(via_stack_db8f27e1_3_1, (10.16,4.905)))
neurona_lvs_1.add(gdstk.Reference(straight_route_56a2289f_, (2,3.3)))
neurona_lvs_1.add(gdstk.Reference(m4_1, (10.16,6.1)))
neurona_lvs_1.add(gdstk.Reference(straight_route_e1a548f4_, (2,3.3)))
neurona_lvs_1.add(gdstk.Reference(m8_1, (16.1,6.1)))
neurona_lvs_1.add(gdstk.Reference(c_route_1413264f_1, (2,3.3)))
neurona_lvs_1.add(gdstk.Reference(straight_route_481d2178_, (2,3.3)))
neurona_lvs_1.add(gdstk.Reference(via_stack_db8f27e1_5_1, (16.1,4.905)))
neurona_lvs_1.add(gdstk.Reference(l_route_33c645ae_1, (2,3.3)))
neurona_lvs_1.add(gdstk.Reference(via_stack_b843013f_2, (28.93,0.5)))
neurona_lvs_1.add(gdstk.Reference(l_route_2285d065_1, (2,3.3)))
neurona_lvs_1.add(gdstk.Reference(l_route_16eb19f2_1, (2,3.3)))
neurona_lvs_1.add(gdstk.Reference(rectangle_9b95c421_1_1, (0,0)))
neurona_lvs_1.add(gdstk.Reference(cap_1, (35.42,6.1)))
neurona_lvs_1.add(gdstk.Reference(straight_route_b24133ba_, (2,3.3)))
neurona_lvs_1.add(gdstk.Reference(via_stack_d8f45b10_1, (6.64,7.545)))
neurona_lvs_1.add(gdstk.Reference(via_stack_db8f27e1_3_1, (11.43,11.895)))
neurona_lvs_1.add(gdstk.Reference(straight_route_92746b26_, (2,3.3)))
neurona_lvs_1.add(gdstk.Reference(c_route_c9285d5b_1, (2,3.3)))
neurona_lvs_1.add(gdstk.Reference(m5_1, (28.93,14.24)))
neurona_lvs_1.add(gdstk.Reference(iin_metal_1, (0.15,15.585)))
neurona_lvs_1.add(gdstk.Reference(straight_route_996c362e_, (2,3.3)))
neurona_lvs_1.add(gdstk.Reference(via_stack_c8581f42_2, (0.9,16.585)))
neurona_lvs_1.add(gdstk.Reference(via_stack_db8f27e1_1_1, (4.22,16.595)))
neurona_lvs_1.add(gdstk.Reference(straight_route_9664698a_, (2,3.3)))
neurona_lvs_1.add(gdstk.Reference(straight_route_ed3a1993_, (2,3.3)))
neurona_lvs_1.add(gdstk.Reference(m1_1, (4.22,21.09)))
neurona_lvs_1.add(gdstk.Reference(m3_1, (10.16,21.09)))
neurona_lvs_1.add(gdstk.Reference(straight_route_a858edcb_, (2,3.3)))
neurona_lvs_1.add(gdstk.Reference(m7_1, (16.1,21.09)))
neurona_lvs_1.add(gdstk.Reference(straight_route_a6495afa_, (2,3.3)))
neurona_lvs_1.add(gdstk.Reference(rectangle_c22e7f21_1, (0,0)))
neurona_lvs_1.add(gdstk.Reference(via_stack_db8f27e1_4_1, (16.1,19.895)))
neurona_lvs_1.add(gdstk.Reference(via_stack_db8f27e1_2_1, (10.16,19.895)))
neurona_lvs_1.add(gdstk.Reference(via_stack_db8f27e1_6, (4.22,19.895)))
neurona_lvs_1.add(gdstk.Reference(straight_route_0f4b8453_, (2,3.3)))
neurona_lvs_1.add(gdstk.Reference(straight_route_d367c30d_, (2,3.3)))
neurona_lvs_1.add(gdstk.Reference(straight_route_6b64639e_, (2,3.3)))
neurona_lvs_1.add(gdstk.Reference(l_route_ab30fc68_1, (2,3.3)))
neurona_lvs_1.add(gdstk.Reference(l_route_b5e7b31b_1, (2,3.3)))
neurona_lvs_1.add(gdstk.Reference(l_route_0d6dd8b1_1, (2,3.3)))
neurona_lvs_1.add(gdstk.Reference(spike_metal_1, (54.67,21.535)))
neurona_lvs_1.add(gdstk.Reference(spike_neg_metal_1, (54.67,24.535)))
neurona_lvs_1.add(gdstk.Reference(via_stack_c8581f42_1_1, (55.92,22.535)))
neurona_lvs_1.add(gdstk.Reference(c_route_29733b11_1, (2,3.3)))
neurona_lvs_1.add(gdstk.Reference(straight_route_d8570c63_, (2,3.3)))
neurona_lvs_1.add(gdstk.Reference(via_stack_b06eda24_1, (55.92,25.535)))
neurona_lvs_1.add(gdstk.Reference(via_stack_b843013f_2, (28.93,27.39)))
neurona_lvs_1.add(gdstk.Reference(rectangle_9b95c421_2, (0,26.89)))
neurona_lvs_1.add(gdstk.Reference(c_route_78f674dd_1, (2,3.3)))
neurona_lvs_1.add(gdstk.Reference(straight_route_1953e087_, (2,3.3)))
neurona_lvs_1.add(gdstk.Reference(c_route_05c46c31_1, (2,3.3)))
neurona_lvs_1.add(gdstk.Reference(straight_route_088ac183_, (2,3.3)))
neurona_lvs_1.add(gdstk.Reference(c_route_2bfcd837_1, (2,3.3)))
neurona_lvs_1.add(gdstk.Reference(straight_route_ac39e755_, (2,3.3)))
neurona_lvs_1.add(gdstk.Label('vss', (28.93,0.5), layer=81, texttype=10))
neurona_lvs_1.add(gdstk.Label('vdd', (28.93,27.39), layer=81, texttype=10))
neurona_lvs_1.add(gdstk.Label('Iin', (0.65,16.585), layer=46, texttype=10))
neurona_lvs_1.add(gdstk.Label('spike_neg', (55.67,25.535), layer=46, texttype=10))
neurona_lvs_1.add(gdstk.Label('spike', (56.17,22.535), layer=46, texttype=10))

via_via3_hv_3 = lib.new_cell('VIA_Via3_HV$3')
R(via_via3_hv_3, via3, [(-0.13,-0.13,0.13,0.13)])
R(via_via3_hv_3, metal3, [(-0.19,-0.14,0.19,0.14)])
R(via_via3_hv_3, metal4, [(-0.14,-0.19,0.14,0.19)])

layer_output = lib.new_cell('layer_output')
R(layer_output, boundary, [(0,0,140,80)])
R(layer_output, metal3, [(15.68,0,18.48,0.7), (49.28,0,52.08,1.26), (82.88,0,85.68,0.7), (116.48,0,119.28,1.26), (15.68,0.7,42.14,0.98), (82.88,0.7,100.94,0.98), (15.68,0.98,18.48,1.5), (41.86,0.98,42.14,3.5), (82.88,0.98,85.68,1.5), (100.66,0.98,100.94,3.5), (49.28,1.26,70.42,1.5), (116.48,1.26,126.98,1.5), (51.8,1.5,70.42,1.54), (119,1.5,126.98,1.54), (41.86,3.5,68.18,3.78), (100.66,3.5,130.34,3.78), (32.48,78.5,35.28,78.54), (103.04,78.5,105.84,78.54), (12.46,78.54,35.28,78.82), (77.98,78.54,105.84,78.82), (32.48,78.82,35.28,80), (103.04,78.82,105.84,80)])
A(layer_output, metal3_pin, 15.68, 0, 2.8, 1.5, 4, 1, 33.6, 0)
R(layer_output, metal3_pin, [(32.48,78.5,35.28,80), (103.04,78.5,105.84,80)])
R(layer_output, metal4, [(70.14,1.26,70.42,39.91), (126.7,1.26,126.98,39.91), (67.9,3.5,68.18,37.35), (130.06,3.5,130.34,37.35), (-4.78,4.18,-2.78,74.22), (15.72,4.18,17.72,74.22), (19.72,4.18,21.72,74.22), (80.72,4.18,82.72,74.22), (84.72,4.18,86.72,74.22), (142.78,4.18,144.78,74.22), (-1.28,7.68,0.72,70.72), (139.28,7.68,141.28,70.72), (12.46,31.81,13.16,32.09), (77,31.81,78.26,32.09), (12.46,32.09,12.74,78.82), (77.98,32.09,78.26,78.82), (69.16,39.91,70.42,40.19), (126.7,39.91,130.2,40.19)])
R(layer_output, metal4_pin, [(-4.78,4.18,-2.78,74.22), (-1.28,7.68,0.72,70.72)])
R(layer_output, metal5, [(-4.78,4.18,144.78,6.18), (-1.28,7.68,141.28,9.68), (-4.78,54.68,144.78,56.68), (-4.78,58.68,144.78,60.68), (-1.28,68.72,141.28,70.72), (-4.78,72.22,144.78,74.22)])
R(layer_output, metal5_pin, [(-4.78,4.18,144.78,6.18), (-1.28,7.68,141.28,9.68)])
layer_output.add(gdstk.Reference(via_via4_5_1000_1000_1_1, (32.72,15.5)))
layer_output.add(gdstk.Reference(via_via4_5_1000_1000_1_1, (32.72,19.5)))
layer_output.add(gdstk.Reference(via_via4_5_1000_1000_1_1, (41.93,15.5)))
layer_output.add(gdstk.Reference(via_via4_5_4000_2000_2_4, (20.72,15.5)))
layer_output.add(gdstk.Reference(via_via4_5_4000_4000_3_3, (-3.78,5.18)))
layer_output.add(gdstk.Reference(via_via4_5_4000_4000_3_3, (20.72,5.18)))
layer_output.add(gdstk.Reference(via_via4_5_4000_4000_3_3, (16.72,8.68)))
layer_output.add(gdstk.Reference(via_via4_5_4000_4000_3_3, (-0.28,8.68)))
layer_output.add(gdstk.Reference(neurona_lvs_1, (13,15)))
layer_output.add(gdstk.Reference(via_via4_5_1000_1000_1_1, (94.72,15.5)))
layer_output.add(gdstk.Reference(via_via4_5_1000_1000_1_1, (94.72,19.5)))
layer_output.add(gdstk.Reference(via_via4_5_1000_1000_1_1, (103.93,15.5)))
layer_output.add(gdstk.Reference(via_via4_5_4000_2000_2_4, (85.72,15.5)))
layer_output.add(gdstk.Reference(via_via4_5_4000_4000_3_3, (85.72,5.18)))
layer_output.add(gdstk.Reference(via_via4_5_4000_4000_3_3, (81.72,8.68)))
layer_output.add(gdstk.Reference(via_via3_hv_3, (70.28,1.4)))
layer_output.add(gdstk.Reference(via_via3_hv_3, (68.04,3.64)))
layer_output.add(gdstk.Reference(neurona_lvs_1, (75,15)))
layer_output.add(gdstk.Reference(via_via4_5_4000_4000_3_3, (143.78,5.18)))
layer_output.add(gdstk.Reference(via_via4_5_4000_4000_3_3, (140.28,8.68)))
layer_output.add(gdstk.Reference(via_via3_hv_3, (130.2,3.64)))
layer_output.add(gdstk.Reference(via_via3_hv_3, (126.84,1.4)))
layer_output.add(gdstk.Reference(via_via4_5_1000_1000_1_1, (41.93,42.39)))
layer_output.add(gdstk.Reference(via_via4_5_4000_2000_2_4, (16.72,42.39)))
layer_output.add(gdstk.Reference(via_via4_5_4000_4000_3_3, (16.72,55.68)))
layer_output.add(gdstk.Reference(via_via4_5_4000_4000_3_3, (-0.28,55.68)))
layer_output.add(gdstk.Reference(via_via4_5_1000_1000_1_1, (103.93,42.39)))
layer_output.add(gdstk.Reference(via_via4_5_4000_2000_2_4, (81.72,42.39)))
layer_output.add(gdstk.Reference(via_via4_5_4000_4000_3_3, (81.72,55.68)))
layer_output.add(gdstk.Reference(via_via4_5_4000_4000_3_3, (140.28,55.68)))
layer_output.add(gdstk.Reference(via_via4_5_4000_4000_3_3, (-3.78,59.68)))
layer_output.add(gdstk.Reference(via_via4_5_4000_4000_3_3, (-3.78,73.22)))
layer_output.add(gdstk.Reference(via_via4_5_4000_4000_3_3, (20.72,59.68)))
layer_output.add(gdstk.Reference(via_via4_5_4000_4000_3_3, (20.72,73.22)))
layer_output.add(gdstk.Reference(via_via4_5_4000_4000_3_3, (-0.28,69.72)))
layer_output.add(gdstk.Reference(via_via4_5_4000_4000_3_3, (16.72,69.72)))
layer_output.add(gdstk.Reference(via_via3_hv_3, (12.6,78.68)))
layer_output.add(gdstk.Reference(via_via4_5_4000_4000_3_3, (85.72,73.22)))
layer_output.add(gdstk.Reference(via_via4_5_4000_4000_3_3, (85.72,59.68)))
layer_output.add(gdstk.Reference(via_via4_5_4000_4000_3_3, (81.72,69.72)))
layer_output.add(gdstk.Reference(via_via3_hv_3, (78.12,78.68)))
layer_output.add(gdstk.Reference(via_via4_5_4000_4000_3_3, (143.78,73.22)))
layer_output.add(gdstk.Reference(via_via4_5_4000_4000_3_3, (143.78,59.68)))
layer_output.add(gdstk.Reference(via_via4_5_4000_4000_3_3, (140.28,69.72)))
layer_output.add(gdstk.Label('vdd', (-0.28,39.2), layer=46, texttype=10))
layer_output.add(gdstk.Label('vdd', (70,8.68), layer=81, texttype=10))
layer_output.add(gdstk.Label('vss', (-3.78,39.2), layer=46, texttype=10))
layer_output.add(gdstk.Label('vss', (70,5.18), layer=81, texttype=10))
layer_output.add(gdstk.Label('Iext1', (33.88,79.25), layer=42, texttype=10))
layer_output.add(gdstk.Label('Iext2', (104.44,79.25), layer=42, texttype=10))
layer_output.add(gdstk.Label('nvout_1', (50.68,0.75), layer=42, texttype=10))
layer_output.add(gdstk.Label('nvout_2', (117.88,0.75), layer=42, texttype=10))
layer_output.add(gdstk.Label('vout_1', (17.08,0.75), layer=42, texttype=10))
layer_output.add(gdstk.Label('vout_2', (84.28,0.75), layer=42, texttype=10))

lib.write_gds('layer_output.gds')
